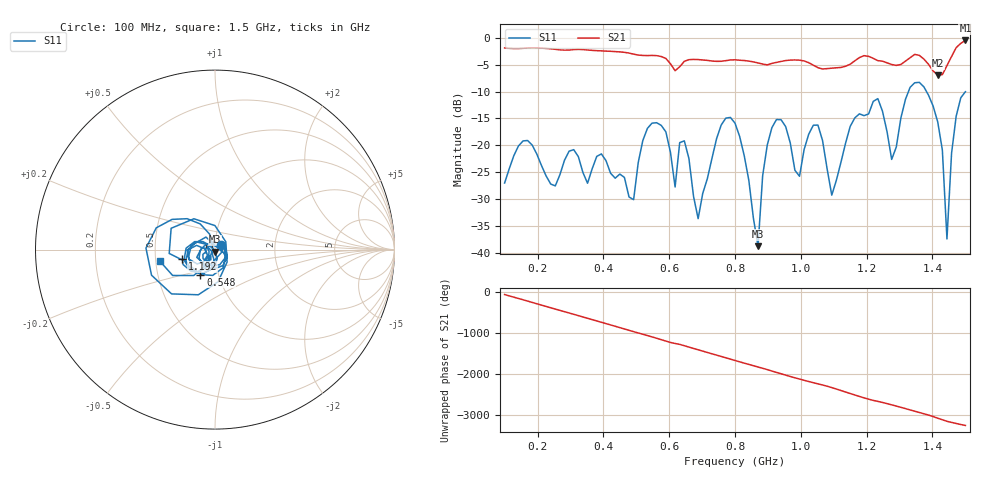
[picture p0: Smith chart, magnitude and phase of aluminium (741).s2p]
! NanoVNA-App
! Date: 2025-09-25 15:01:03
! Start: 100MHz Stop: 1,5GHz Points: 101
! S-Parameter data: F S11 S21 S12 S22
# Hz S RI R 50
!  Frequency  S11_Real  S11_Imag  S21_Real  S21_Imag  S12_Real  S12_Imag  S22_Real  S22_Imag
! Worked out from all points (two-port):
!   101 points, 100 MHz to 1.5 GHz, reference 50 ohm
!   highest |S21| = -0.53 dB at 1.5 GHz (marker M1); lowest = -7.0 dB at 1.416 GHz (marker M2)
!   |S21| within 3 dB of the highest: start of sweep to 576.8 MHz; 1.458 GHz to end of sweep (the widest 2 of 4)
!   lowest |S11| = -38.7 dB at 870 MHz (marker M3), VSWR 1.02, Z = 50 - j1.17 ohm
!   |S11| at or under -10 dB: start of sweep to 1.327 GHz; 1.382 GHz to end of sweep
!   S12 and S22 are empty: the file has one direction only
!   S11 on the Smith chart (normalised r, x): 100 MHz: 1.07, +0.06; 548 MHz: 0.82, -0.23; 1.192 GHz: 0.69, -0.07; 1.5 GHz: 0.52, -0.07
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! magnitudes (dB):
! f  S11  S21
! 100 MHz  -27.0  -1.9
! 156 MHz  -19.2  -2.0
! 338 MHz  -25.0  -2.2
! 492 MHz  -30.1  -3.1
! 548 MHz  -15.9  -3.3
! 576 MHz  -16.3  -3.5
! 618 MHz  -27.7  -6.1
! 646 MHz  -19.1  -4.4
! 688 MHz  -33.6  -4.1
! 800 MHz  -15.9  -4.1
! 870 MHz  -38.7  -4.7
! 912 MHz  -16.7  -4.8
! 996 MHz  -25.7  -4.2
! 1.038 GHz  -16.2  -5.1
! 1.094 GHz  -29.2  -5.7
! 1.192 GHz  -14.5  -3.3
! 1.276 GHz  -22.6  -5.0
! 1.346 GHz  -8.4  -3.1
! 1.416 GHz  -15.6  -7.0
! 1.444 GHz  -37.3  -5.2
! 1.472 GHz  -14.6  -1.9
! 1.5 GHz  -10.0  -0.5
